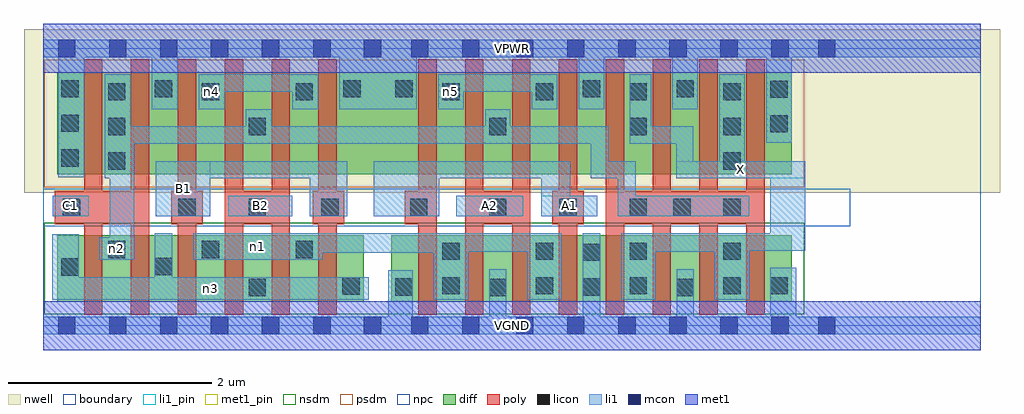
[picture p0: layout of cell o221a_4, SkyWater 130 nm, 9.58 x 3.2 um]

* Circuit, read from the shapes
.subckt o221a_4 A1 A2 B1 B2 C1 VGND VPWR X n1 n2 n3 n4 n5
XM1 n2 C1 n3 VSUBS sky130_fd_pr__nfet_01v8 w=0.65 l=0.18 m=2
XM2 n1 B1 n3 VSUBS sky130_fd_pr__nfet_01v8 w=0.65 l=0.18 m=2
XM3 n3 B2 n1 VSUBS sky130_fd_pr__nfet_01v8 w=0.65 l=0.18 m=2
XM4 n1 A1 VGND VSUBS sky130_fd_pr__nfet_01v8 w=0.65 l=0.18 m=2
XM5 VGND A2 n1 VSUBS sky130_fd_pr__nfet_01v8 w=0.65 l=0.18 m=2
XM6 X n2 VGND VSUBS sky130_fd_pr__nfet_01v8 w=0.65 l=0.18 m=4
XM7 n2 C1 VPWR n6 sky130_fd_pr__pfet_01v8 w=1 l=0.18 m=2
XM8 n4 B1 VPWR n6 sky130_fd_pr__pfet_01v8 w=1 l=0.18 m=2
XM9 n2 B2 n4 n6 sky130_fd_pr__pfet_01v8 w=1 l=0.18 m=2
XM10 n5 A1 VPWR n6 sky130_fd_pr__pfet_01v8 w=1 l=0.18 m=2
XM11 n2 A2 n5 n6 sky130_fd_pr__pfet_01v8 w=1 l=0.18 m=2
XM12 X n2 VPWR n6 sky130_fd_pr__pfet_01v8 w=1 l=0.18 m=4
.ends

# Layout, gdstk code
import gdstk
lib = gdstk.Library(unit=1e-6, precision=1e-09)
def R(c, l, rs):  # rectangles x0, y0, x1, y1
    for r in rs: c.add(gdstk.rectangle(r[:2], r[2:], *l))
def A(c, l, x, y, w, h, nx, ny, dx, dy):  # array of equal rectangles
    R(c, l, [(x+i*dx, y+j*dy, x+i*dx+w, y+j*dy+h) for i in range(nx) for j in range(ny)])
nwell = (64, 20)
diff = (65, 20)
poly = (66, 20)
licon = (66, 44)
li1_pin = (67, 16)
li1 = (67, 20)
mcon = (67, 44)
met1_pin = (68, 16)
met1 = (68, 20)
nsdm = (93, 44)
psdm = (94, 20)
npc = (95, 20)
boundary = (235, 4)

o221a_4 = lib.new_cell('o221a_4')
R(o221a_4, nwell, [(-0.19,1.305,9.39,2.91), (0,1.305,9.2,2.91)])
R(o221a_4, diff, [(0.135,0.235,3.145,0.885), (3.415,0.235,7.345,0.885), (0.135,1.485,7.345,2.485)])
A(o221a_4, poly, 0.4, 0.105, 0.18, 2.51, 6, 1, 0.46, 0)
A(o221a_4, poly, 3.68, 0.105, 0.18, 2.51, 8, 1, 0.46, 0)
R(o221a_4, poly, [(0.11,0.995,1.04,1.325), (1.255,0.995,1.565,1.325), (1.78,0.995,2.42,1.325), (2.645,0.995,2.955,1.325), (3.545,0.995,3.86,1.325), (4.14,0.995,4.78,1.325), (4.995,0.995,5.305,1.325), (5.52,0.995,7.08,1.325)])
A(o221a_4, licon, 3.915, 0.305, 0.17, 0.17, 4, 2, 0.92, 0.34)
A(o221a_4, licon, 0.635, 0.66, 0.17, 0.17, 3, 2, 0.92, 1.55)
A(o221a_4, licon, 4.375, 1.075, 0.17, 0.17, 3, 1, 0.69, 0)
A(o221a_4, licon, 0.175, 1.56, 0.17, 0.17, 1, 3, 0, 0.34)
A(o221a_4, licon, 3.915, 2.21, 0.17, 0.17, 4, 1, 0.92, 0)
R(o221a_4, licon, [(2.015,0.29,2.185,0.46), (4.375,0.29,4.545,0.46), (6.215,0.29,6.385,0.46), (3.455,0.295,3.625,0.465), (5.295,0.295,5.465,0.465), (2.935,0.3,3.105,0.47), (7.135,0.305,7.305,0.475), (0.175,0.49,0.345,0.66), (1.095,0.495,1.265,0.665), (5.295,0.635,5.465,0.805), (0.19,1.075,0.36,1.245), (1.325,1.075,1.495,1.245), (2.015,1.075,2.185,1.245), (2.73,1.075,2.9,1.245), (3.6,1.075,3.77,1.245), (6.185,1.075,6.355,1.245), (6.675,1.075,6.845,1.245), (0.635,1.53,0.805,1.7), (6.675,1.53,6.845,1.7), (0.635,1.87,0.805,2.04), (2.015,1.87,2.185,2.04), (4.375,1.87,4.545,2.04), (5.755,1.87,5.925,2.04), (6.675,1.87,6.845,2.04), (7.135,1.895,7.305,2.065), (7.135,2.235,7.305,2.405), (1.095,2.24,1.265,2.41), (2.945,2.24,3.115,2.41), (3.455,2.24,3.625,2.41), (5.295,2.24,5.465,2.41), (6.215,2.24,6.385,2.41)])
R(o221a_4, li1_pin, [(0.09,1.075,0.445,1.275), (1.105,1.075,1.64,1.615), (1.815,1.075,2.445,1.275), (4.055,1.075,4.71,1.275), (4.885,1.075,5.435,1.275), (6.21,1.445,7.48,1.615)])
A(o221a_4, li1, 3.83, 0.255, 0.34, 0.65, 4, 1, 0.92, 0)
R(o221a_4, li1, [(0,-0.085,9.2,0.085), (3.385,-0.085,3.625,0.545), (4.375,-0.085,4.545,0.555), (5.295,-0.085,5.465,0.905), (6.215,-0.085,6.385,0.555), (7.135,-0.085,7.39,0.565), (0.085,0.255,3.195,0.475), (0.085,0.255,0.345,0.895), (1.095,0.255,1.265,0.905), (0.55,0.645,0.89,0.865), (0.65,0.645,0.89,1.955), (1.47,0.645,2.74,0.905), (1.47,0.715,4.17,0.905), (1.47,0.725,5.09,0.905), (5.67,0.725,6.93,0.905), (5.67,0.735,7.48,0.905), (7.135,0.735,7.48,1.615), (0.09,1.075,0.445,1.275), (1.105,1.075,1.64,1.615), (1.815,1.075,2.445,1.275), (2.615,1.075,2.985,1.615), (3.245,1.075,3.885,1.615), (4.055,1.075,4.71,1.275), (4.885,1.075,5.435,1.275), (4.885,1.075,5.17,1.615), (5.64,1.075,6.93,1.275), (5.64,1.075,5.815,1.615), (0.605,1.445,0.86,2.465), (1.105,1.445,2.985,1.615), (3.245,1.445,5.17,1.615), (5.375,1.445,5.815,1.615), (5.375,1.445,5.55,1.955), (6.21,1.445,7.48,1.615), (6.21,1.445,6.38,1.955), (6.635,1.445,6.885,2.465), (0.145,1.455,0.4,2.805), (0.605,1.785,5.55,1.955), (1.985,1.785,2.24,2.125), (4.335,1.785,4.585,2.125), (5.755,1.785,5.965,2.465), (5.755,1.785,6.38,1.955), (7.095,1.795,7.345,2.805), (1.065,2.125,1.32,2.805), (1.525,2.125,1.78,2.465), (2.445,2.125,2.7,2.465), (2.905,2.125,3.665,2.805), (3.875,2.125,4.125,2.465), (4.795,2.125,5.045,2.465), (5.255,2.125,5.505,2.805), (6.175,2.125,6.425,2.805), (1.525,2.295,2.7,2.465), (3.875,2.295,5.045,2.465), (0,2.635,9.2,2.805)])
A(o221a_4, mcon, 0.145, -0.085, 0.17, 0.17, 5, 2, 0.5, 2.72)
A(o221a_4, mcon, 5.645, -0.085, 0.17, 0.17, 4, 2, 0.5, 2.72)
R(o221a_4, mcon, [(2.65,-0.085,2.82,0.085), (3.145,-0.085,3.315,0.085), (3.61,-0.085,3.78,0.085), (4.11,-0.085,4.28,0.085), (4.64,-0.085,4.81,0.085), (5.14,-0.085,5.31,0.085), (7.605,-0.085,7.775,0.085), (2.65,2.635,2.82,2.805), (3.145,2.635,3.315,2.805), (3.61,2.635,3.78,2.805), (4.11,2.635,4.28,2.805), (4.64,2.635,4.81,2.805), (5.14,2.635,5.31,2.805), (7.605,2.635,7.775,2.805)])
R(o221a_4, met1_pin, [(0,-0.24,9.2,0.24), (0,2.48,9.2,2.96)])
R(o221a_4, met1, [(0,-0.24,9.2,0.24), (0,2.48,9.2,2.96)])
R(o221a_4, nsdm, [(0.01,0.11,7.47,1.01)])
R(o221a_4, psdm, [(0.01,1.36,7.47,2.61)])
R(o221a_4, npc, [(0,0.975,7.92,1.345)])
R(o221a_4, boundary, [(0,0,9.2,2.72)])
o221a_4.add(gdstk.Label('A1', (5.16,1.175), layer=67, texttype=5))
o221a_4.add(gdstk.Label('A2', (4.382,1.175), layer=67, texttype=5))
o221a_4.add(gdstk.Label('B1', (1.372,1.345), layer=67, texttype=5))
o221a_4.add(gdstk.Label('B2', (2.13,1.175), layer=67, texttype=5))
o221a_4.add(gdstk.Label('C1', (0.267,1.175), layer=67, texttype=5))
o221a_4.add(gdstk.Label('X', (6.845,1.53), layer=67, texttype=5))
o221a_4.add(gdstk.Label('n3', (1.64,0.365), layer=67, texttype=5))
o221a_4.add(gdstk.Label('n1', (2.105,0.775), layer=67, texttype=5))
o221a_4.add(gdstk.Label('n2', (0.72,0.755), layer=67, texttype=5))
o221a_4.add(gdstk.Label('n4', (1.652,2.295), layer=67, texttype=5))
o221a_4.add(gdstk.Label('n5', (4,2.295), layer=67, texttype=5))
o221a_4.add(gdstk.Label('VPWR', (4.6,2.72), layer=68, texttype=5))
o221a_4.add(gdstk.Label('VGND', (4.6,0), layer=68, texttype=5))
o221a_4.add(gdstk.Label('A1', (5.16,1.175), layer=67, texttype=16))
o221a_4.add(gdstk.Label('A2', (4.382,1.175), layer=67, texttype=16))
o221a_4.add(gdstk.Label('B1', (1.372,1.345), layer=67, texttype=16))
o221a_4.add(gdstk.Label('B2', (2.13,1.175), layer=67, texttype=16))
o221a_4.add(gdstk.Label('C1', (0.267,1.175), layer=67, texttype=16))
o221a_4.add(gdstk.Label('X', (6.845,1.53), layer=67, texttype=16))
o221a_4.add(gdstk.Label('VPWR', (4.6,2.72), layer=68, texttype=16))
o221a_4.add(gdstk.Label('VGND', (4.6,0), layer=68, texttype=16))

lib.write_gds('o221a_4.gds')
